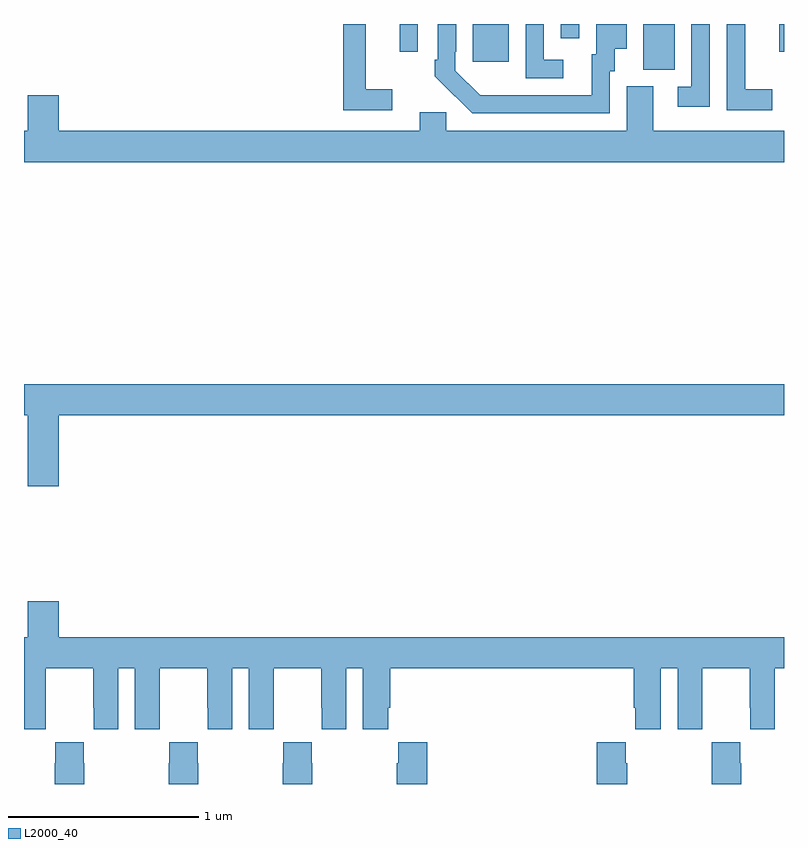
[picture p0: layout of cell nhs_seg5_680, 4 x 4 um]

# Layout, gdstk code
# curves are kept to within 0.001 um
import gdstk
lib = gdstk.Library(unit=1e-6, precision=1e-09)
def R(c, l, rs):  # rectangles x0, y0, x1, y1
    for r in rs: c.add(gdstk.rectangle(r[:2], r[2:], *l))
def P(c, l, *ps):  # polygons
    for p in ps: c.add(gdstk.Polygon(p, *l))
L2000_40 = (2000, 40)

nhs_seg5_680 = lib.new_cell('nhs_seg5_680')
R(nhs_seg5_680, L2000_40, [(156.26,878.557,156.424,878.799), (155.363,878.601,155.551,878.799), (154.977,878.652,155.073,878.799), (156.975,878.652,157,878.799), (155.826,878.724,155.922,878.799)])
P(nhs_seg5_680, L2000_40, [(156.609,878.799),(156.513,878.799),(156.513,878.469),(156.441,878.469),(156.441,878.364),(156.609,878.364)],
  [(156.937,878.455),(156.797,878.455),(156.797,878.799),(156.699,878.799),(156.699,878.346),(156.937,878.346)],
  [(156.084,878.55),(156.109,878.55),(156.109,878.669),(156.172,878.669),(156.172,878.799),(156.011,878.799),(156.011,878.64),(155.987,878.64),(155.987,878.424),(155.4,878.425),(155.271,878.553),(155.271,878.653),(155.274,878.653),(155.274,878.799),(155.178,878.799),(155.178,878.611),(155.163,878.611),(155.163,878.523),(155.36,878.328),(156.084,878.328)],
  [(154.939,878.455),(154.799,878.455),(154.799,878.799),(154.681,878.799),(154.681,878.346),(154.939,878.346)],
  [(155.839,878.61),(155.736,878.61),(155.736,878.799),(155.64,878.799),(155.64,878.514),(155.839,878.514)],
  [(157,878.236),(156.313,878.236),(156.313,878.472),(156.173,878.472),(156.173,878.236),(155.223,878.236),(155.223,878.334),(155.084,878.334),(155.084,878.236),(153.184,878.236),(153.184,878.425),(153.02,878.425),(153.02,878.236),(153,878.236),(153,878.072),(157,878.072)],
  [(153.184,876.74),(157,876.74),(157,876.904),(153,876.904),(153,876.74),(153.02,876.74),(153.02,876.366),(153.184,876.366)],
  [(153.184,875.761),(153.02,875.761),(153.02,875.572),(153,875.572),(153,875.088),(153.114,875.088),(153.114,875.2),(153.115,875.2),(153.115,875.408),(153.365,875.408),(153.365,875.2),(153.366,875.2),(153.366,875.088),(153.496,875.088),(153.496,875.408),(153.584,875.408),(153.584,875.088),(153.714,875.088),(153.714,875.2),(153.715,875.2),(153.715,875.408),(153.965,875.408),(153.965,875.2),(153.966,875.2),(153.966,875.088),(154.096,875.088),(154.096,875.408),(154.184,875.408),(154.184,875.088),(154.314,875.088),(154.314,875.2),(154.315,875.2),(154.315,875.408),(154.565,875.408),(154.565,875.2),(154.566,875.2),(154.566,875.088),(154.696,875.088),(154.696,875.408),(154.784,875.408),(154.784,875.088),(154.918,875.088),(154.918,875.2),(154.928,875.2),(154.928,875.408),(156.209,875.408),(156.209,875.2),(156.218,875.2),(156.218,875.088),(156.352,875.088),(156.352,875.408),(156.44,875.408),(156.44,875.088),(156.57,875.088),(156.57,875.2),(156.571,875.2),(156.571,875.408),(156.821,875.408),(156.821,875.2),(156.822,875.2),(156.822,875.088),(156.952,875.088),(156.952,875.408),(157,875.408),(157,875.572),(153.184,875.572)],
  [(156.774,874.907),(156.771,874.907),(156.771,875.02),(156.621,875.02),(156.621,874.907),(156.619,874.907),(156.619,874.799),(156.774,874.799)],
  [(153.318,874.907),(153.315,874.907),(153.315,875.02),(153.165,875.02),(153.165,874.907),(153.163,874.907),(153.163,874.799),(153.318,874.799)],
  [(153.918,874.907),(153.915,874.907),(153.915,875.02),(153.765,875.02),(153.765,874.907),(153.763,874.907),(153.763,874.799),(153.918,874.799)],
  [(154.518,874.907),(154.515,874.907),(154.515,875.02),(154.365,875.02),(154.365,874.907),(154.363,874.907),(154.363,874.799),(154.518,874.799)],
  [(155.123,875.02),(154.969,875.02),(154.969,874.907),(154.963,874.907),(154.963,874.799),(155.123,874.799)],
  [(156.174,874.907),(156.167,874.907),(156.167,875.02),(156.014,875.02),(156.014,874.799),(156.174,874.799)])

lib.write_gds('nhs_seg5_680.gds')
